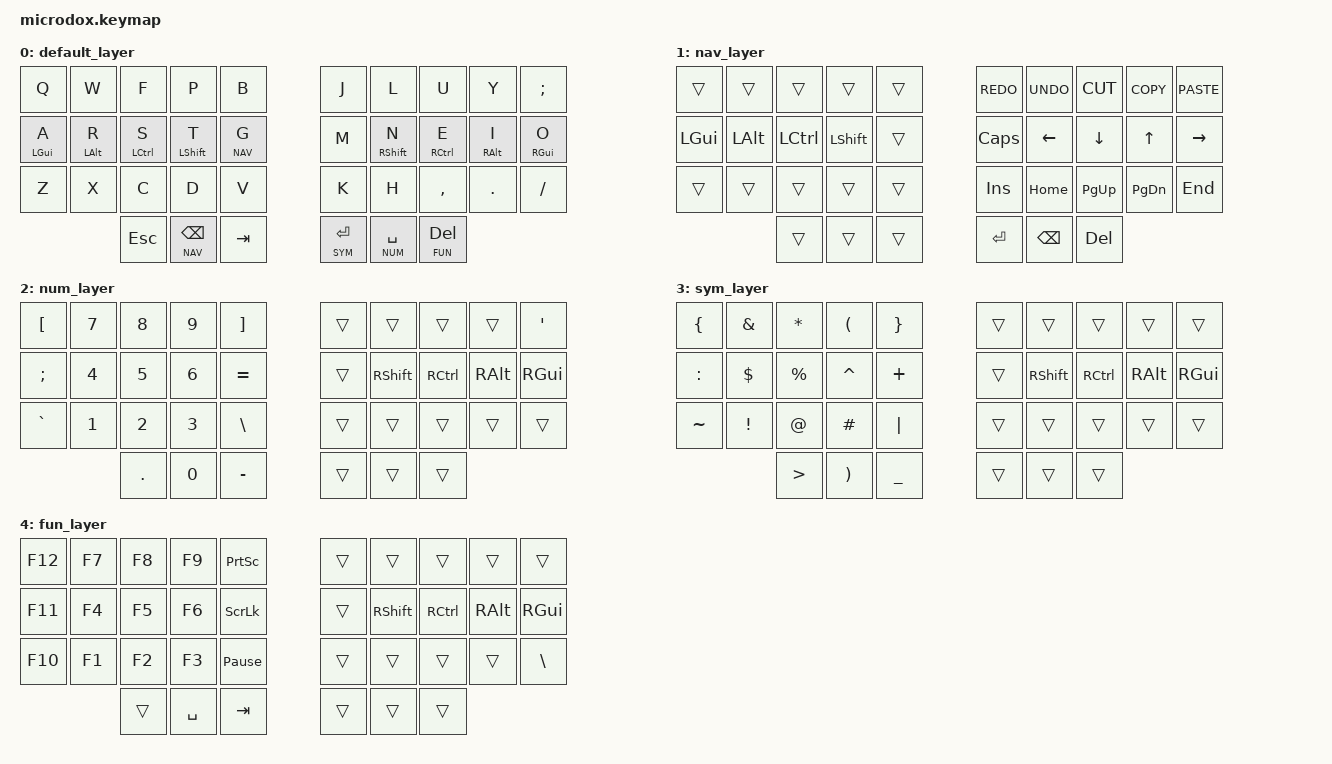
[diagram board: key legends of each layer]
#include <behaviors.dtsi>
#include <dt-bindings/zmk/keys.h>
#include <dt-bindings/zmk/bt.h>

#define DEFAULT 0
#define NAV     1
#define NUM     2
#define SYM     3
#define FUN     4

/ {
    behaviors {
        hm: homerow_mods {
            compatible = "zmk,behavior-hold-tap";
            label = "homerow mods";
            #binding-cells = <2>;
            tapping-term-ms = <225>;
            flavor = "tap-preferred";
            bindings = <&kp>, <&kp>;
        };
    };
};

/ {
    keymap {
                compatible = "zmk,keymap";

                default_layer {
                        bindings = <
   &kp Q      &kp W      &kp F       &kp P        &kp B     &kp J       &kp L         &kp U       &kp Y      &kp SEMI
   &hm LGUI A &hm LALT R &hm LCTRL S &hm LSHFT T  &lt NAV G &kp M       &hm RSHFT N   &hm RCTRL E &hm RALT I &hm RGUI O
   &kp Z      &kp X      &kp C       &kp D        &kp V     &kp K       &kp H         &kp COMMA   &kp DOT    &kp FSLH
                         &kp ESC     &lt NAV BSPC &kp TAB   &lt SYM RET &lt NUM SPACE &lt FUN DEL
                        >;
                };

                nav_layer {
                        bindings = <
   &trans   &trans   &trans    &trans    &trans  &kp K_REDO &kp K_UNDO &kp K_CUT &kp K_COPY &kp K_PASTE
   &kp LGUI &kp LALT &kp LCTRL &kp LSHFT &trans  &kp CAPS   &kp LEFT   &kp DOWN  &kp UP     &kp RIGHT
   &trans   &trans   &trans    &trans    &trans  &kp INS    &kp HOME   &kp PG_UP &kp PG_DN  &kp END
                     &trans    &trans    &trans  &kp RET    &kp BSPC   &kp DEL
                        >;
                };

                num_layer {
                        bindings = <
   &kp LBKT  &kp N7 &kp N8  &kp N9 &kp RBKT  &trans &trans    &trans    &trans   &kp SQT
   &kp SEMI  &kp N4 &kp N5  &kp N6 &kp EQUAL &trans &kp RSHFT &kp RCTRL &kp RALT &kp RGUI
   &kp GRAVE &kp N1 &kp N2  &kp N3 &kp BSLH  &trans &trans    &trans    &trans   &trans
                    &kp DOT &kp N0 &kp MINUS &trans &trans    &trans
                        >;
                };

                sym_layer {
                        bindings = <
   &kp LBRC  &kp AMPS &kp STAR  &kp LPAR  &kp RBRC  &trans &trans    &trans    &trans   &trans
   &kp COLON &kp DLLR &kp PRCNT &kp CARET &kp PLUS  &trans &kp RSHFT &kp RCTRL &kp RALT &kp RGUI
   &kp TILDE &kp EXCL &kp AT    &kp HASH  &kp PIPE  &trans &trans    &trans    &trans   &trans
                      &kp GT    &kp RPAR  &kp UNDER &trans &trans    &trans
                        >;
                };

                fun_layer {
                        bindings = <
   &kp F12 &kp F7 &kp F8 &kp F9    &kp PSCRN       &trans &trans    &trans    &trans   &trans
   &kp F11 &kp F4 &kp F5 &kp F6    &kp SLCK        &trans &kp RSHFT &kp RCTRL &kp RALT &kp RGUI
   &kp F10 &kp F1 &kp F2 &kp F3    &kp PAUSE_BREAK &trans &trans    &trans    &trans   &kp BSLH
                  &trans &kp SPACE &kp TAB         &trans &trans    &trans
                        >;
                };
        };
};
